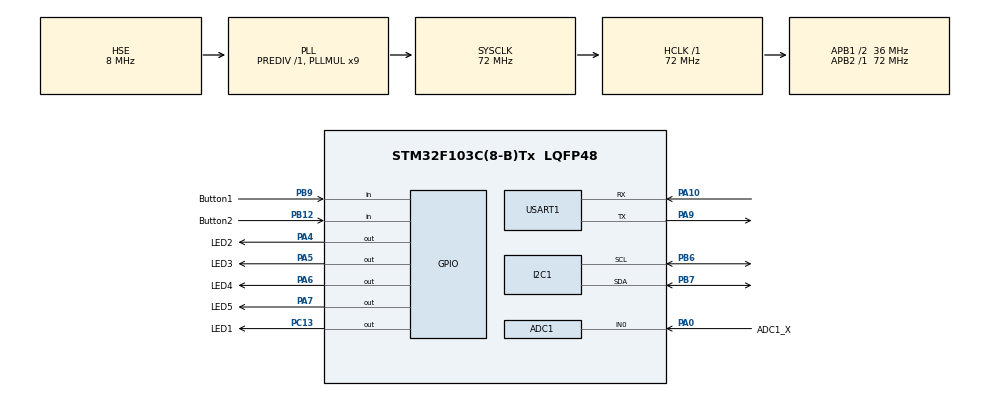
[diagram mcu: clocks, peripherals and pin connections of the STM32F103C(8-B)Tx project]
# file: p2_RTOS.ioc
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ADC1.Channel-0\#ChannelRegularConversion=ADC_CHANNEL_0
ADC1.NbrOfConversionFlag=1
ADC1.Rank-0\#ChannelRegularConversion=1
ADC1.SamplingTime-0\#ChannelRegularConversion=ADC_SAMPLETIME_1CYCLE_5
ADC1.master=1
FREERTOS.Tasks01=defaultTask,24,128,StartDefaultTask,Default,NULL,Dynamic,NULL,NULL;pickButtonTask,24,128,pickButton,Default,NULL,Dynamic,NULL,NULL;getADCTask,32,128,getADC,Default,NULL,Dynamic,NULL,NULL;dispOLEDTask,24,128,dispOLED,Default,NULL,Dynamic,NULL,NULL;dispUARTTask,24,128,dispUART,Default,NULL,Dynamic,NULL,NULL
FREERTOS.configTOTAL_HEAP_SIZE=3600
FREERTOS.configUSE_NEWLIB_REENTRANT=1
I2C1.I2C_Mode=I2C_Fast
Mcu.Family=STM32F1
Mcu.Name=STM32F103C(8-B)Tx
Mcu.Package=LQFP48
NVIC.PriorityGroup=NVIC_PRIORITYGROUP_4
NVIC.TIM4_IRQn=true\:15\:0\:false\:false\:true\:false\:false\:true\:true
NVIC.TimeBase=TIM4_IRQn
NVIC.TimeBaseIP=TIM4
PA0-WKUP.GPIO_Label=ADC1_X
PA0-WKUP.Signal=ADCx_IN0
PA10.Mode=Asynchronous
PA10.Signal=USART1_RX
PA4.GPIO_Label=LED2
PA4.Signal=GPIO_Output
PA5.GPIO_Label=LED3
PA5.Signal=GPIO_Output
PA6.GPIO_Label=LED4
PA6.Signal=GPIO_Output
PA7.GPIO_Label=LED5
PA7.Signal=GPIO_Output
PA9.Mode=Asynchronous
PA9.Signal=USART1_TX
PB12.GPIO_Label=Button2
PB12.Signal=GPIO_Input
PB6.Mode=I2C
PB6.Signal=I2C1_SCL
PB7.Mode=I2C
PB7.Signal=I2C1_SDA
PB9.GPIO_Label=Button1
PB9.GPIO_PuPd=GPIO_PULLUP
PB9.Signal=GPIO_Input
PC13-TAMPER-RTC.GPIO_Label=LED1
PC13-TAMPER-RTC.Signal=GPIO_Output
PD0-OSC_IN.Mode=HSE-External-Oscillator
PD0-OSC_IN.Signal=RCC_OSC_IN
PD1-OSC_OUT.Mode=HSE-External-Oscillator
PD1-OSC_OUT.Signal=RCC_OSC_OUT
ProjectManager.HeapSize=0x200
ProjectManager.StackSize=0x400
ProjectManager.TargetToolchain=STM32CubeIDE
RCC.ADCPresc=RCC_ADCPCLK2_DIV6
RCC.AHBFreq_Value=72000000
RCC.APB1CLKDivider=RCC_HCLK_DIV2
RCC.APB1Freq_Value=36000000
RCC.APB1TimFreq_Value=72000000
RCC.APB2Freq_Value=72000000
RCC.APB2TimFreq_Value=72000000
RCC.HCLKFreq_Value=72000000
RCC.PLLMUL=RCC_PLL_MUL9
RCC.PLLSourceVirtual=RCC_PLLSOURCE_HSE
RCC.SYSCLKFreq_VALUE=72000000
RCC.SYSCLKSource=RCC_SYSCLKSOURCE_PLLCLK
RCC.USBFreq_Value=72000000
SH.ADCx_IN0.0=ADC1_IN0,IN0
USART1.VirtualMode=VM_ASYNC
VP_FREERTOS_VS_CMSIS_V2.Mode=CMSIS_V2
VP_SYS_VS_ND.Mode=No_Debug
VP_SYS_VS_tim4.Mode=TIM4
board=custom

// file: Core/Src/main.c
/* USER CODE BEGIN Header */
/**
  ******************************************************************************
 * main.c
 * author:  Jonathan Burkley Rodriguez <superryuboy@yahoo.com>
	for Phipp's Electronics

	SSD1306 code:
 * original author:  Tilen Majerle<tilen@majerle.eu>
 * modification for STM32f10x: Alexander Lutsai<s.lyra@ya.ru>

   ----------------------------------------------------------------------
   	Copyright (C) Alexander Lutsai, 2016
    Copyright (C) Tilen Majerle, 2015

   ----------------------------------------------------------------------

    This program is free software: you can redistribute it and/or modify
    it under the terms of the GNU General Public License as published by
    the Free Software Foundation, either version 3 of the License, or
    any later version.

    This program is distributed in the hope that it will be useful,
    but WITHOUT ANY WARRANTY; without even the implied warranty of
    MERCHANTABILITY or FITNESS FOR A PARTICULAR PURPOSE.  See the
    GNU General Public License for more details.

    You should have received a copy of the GNU General Public License
    along with this program.  If not, see <http://www.gnu.org/licenses/>.
  ******************************************************************************
  */
/* USER CODE END Header */
#include "main.h"
#include "cmsis_os.h"

/* USER CODE BEGIN Includes */
#include <stdio.h>
#include "fonts.h"
#include "ssd1306.h"
//#include "test.h"
#include "bitmap.h"
//#include "horse_anim.h"
/* USER CODE END Includes */

ADC_HandleTypeDef hadc1;
I2C_HandleTypeDef hi2c1;
UART_HandleTypeDef huart1;

/* Definitions for defaultTask */
osThreadId_t defaultTaskHandle;
const osThreadAttr_t defaultTask_attributes = {
  .name = "defaultTask",
  .stack_size = 128 * 4,
  .priority = (osPriority_t) osPriorityNormal,
};
/* Definitions for pickButtonTask */
osThreadId_t pickButtonTaskHandle;
const osThreadAttr_t pickButtonTask_attributes = {
  .name = "pickButtonTask",
  .stack_size = 128 * 4,
  .priority = (osPriority_t) osPriorityNormal,
};
/* Definitions for getADCTask */
osThreadId_t getADCTaskHandle;
const osThreadAttr_t getADCTask_attributes = {
  .name = "getADCTask",
  .stack_size = 128 * 4,
  .priority = (osPriority_t) osPriorityAboveNormal,
};
/* Definitions for dispOLEDTask */
osThreadId_t dispOLEDTaskHandle;
const osThreadAttr_t dispOLEDTask_attributes = {
  .name = "dispOLEDTask",
  .stack_size = 128 * 4,
  .priority = (osPriority_t) osPriorityNormal,
};
/* Definitions for dispUARTTask */
osThreadId_t dispUARTTaskHandle;
const osThreadAttr_t dispUARTTask_attributes = {
  .name = "dispUARTTask",
  .stack_size = 128 * 4,
  .priority = (osPriority_t) osPriorityNormal,
};
/* USER CODE BEGIN PV */
uint32_t x_val;
uint8_t choice;
char buffer[50];
uint8_t state;

volatile int button1_pressed = 0;
volatile int button2_pressed = 0;

/* USER CODE END PV */

void SystemClock_Config(void);
static void MX_GPIO_Init(void);
static void MX_ADC1_Init(void);
static void MX_I2C1_Init(void);
static void MX_USART1_UART_Init(void);
void StartDefaultTask(void *argument);
void pickButton(void *argument);
void getADC(void *argument);
void dispOLED(void *argument);
void dispUART(void *argument);

/* USER CODE BEGIN PFP */
void Menu_Display(void);
/* USER CODE END PFP */

/* USER CODE BEGIN 0 */
void Light_LED(){
	if(x_val < 4096/5){
			HAL_GPIO_WritePin(LED1_GPIO_Port, LED1_Pin, 1);
			HAL_GPIO_WritePin(LED2_GPIO_Port, LED2_Pin, 0);
			HAL_GPIO_WritePin(LED3_GPIO_Port, LED3_Pin, 0);
			HAL_GPIO_WritePin(LED4_GPIO_Port, LED4_Pin, 0);
			HAL_GPIO_WritePin(LED5_GPIO_Port, LED5_Pin, 0);
		} else if(x_val < 4096*2/5){
			HAL_GPIO_WritePin(LED1_GPIO_Port, LED1_Pin, 1);
			HAL_GPIO_WritePin(LED2_GPIO_Port, LED2_Pin, 1);
			HAL_GPIO_WritePin(LED3_GPIO_Port, LED3_Pin, 0);
			HAL_GPIO_WritePin(LED4_GPIO_Port, LED4_Pin, 0);
			HAL_GPIO_WritePin(LED5_GPIO_Port, LED5_Pin, 0);
		} else if(x_val < 4096*3/5){
			HAL_GPIO_WritePin(LED1_GPIO_Port, LED1_Pin, 1);
			HAL_GPIO_WritePin(LED2_GPIO_Port, LED2_Pin, 1);
			HAL_GPIO_WritePin(LED3_GPIO_Port, LED3_Pin, 1);
			HAL_GPIO_WritePin(LED4_GPIO_Port, LED4_Pin, 0);
			HAL_GPIO_WritePin(LED5_GPIO_Port, LED5_Pin, 0);
		} else if(x_val < 4096*4/5){
			HAL_GPIO_WritePin(LED1_GPIO_Port, LED1_Pin, 1);
			HAL_GPIO_WritePin(LED2_GPIO_Port, LED2_Pin, 1);
			HAL_GPIO_WritePin(LED3_GPIO_Port, LED3_Pin, 1);
			HAL_GPIO_WritePin(LED4_GPIO_Port, LED4_Pin, 1);
			HAL_GPIO_WritePin(LED5_GPIO_Port, LED5_Pin, 0);
		} else{
			HAL_GPIO_WritePin(LED1_GPIO_Port, LED1_Pin, 1);
			HAL_GPIO_WritePin(LED2_GPIO_Port, LED2_Pin, 1);
			HAL_GPIO_WritePin(LED3_GPIO_Port, LED3_Pin, 1);
			HAL_GPIO_WritePin(LED4_GPIO_Port, LED4_Pin, 1);
			HAL_GPIO_WritePin(LED5_GPIO_Port, LED5_Pin, 1);
		}
}

void Tf_LED(){
	HAL_GPIO_WritePin(LED1_GPIO_Port, LED1_Pin, 0);
	HAL_GPIO_WritePin(LED2_GPIO_Port, LED2_Pin, 0);
	HAL_GPIO_WritePin(LED3_GPIO_Port, LED3_Pin, 0);
	HAL_GPIO_WritePin(LED4_GPIO_Port, LED4_Pin, 0);
	HAL_GPIO_WritePin(LED5_GPIO_Port, LED5_Pin, 0);
}
/* USER CODE END 0 */

int main(void)
{

  /* MCU Configuration--------------------------------------------------------*/

  /* Reset of all peripherals, Initializes the Flash interface and the Systick. */
  HAL_Init();

  /* USER CODE BEGIN Init */

	  // initialise
  /* USER CODE END Init */

  /* Configure the system clock */
  SystemClock_Config();

  /* Initialize all configured peripherals */
  MX_GPIO_Init();
  MX_ADC1_Init();
  MX_I2C1_Init();
  MX_USART1_UART_Init();
  /* USER CODE BEGIN 2 */

  SSD1306_Init();
  SSD1306_Clear();
  SSD1306_UpdateScreen();

  SSD1306_GotoXY (0,0);
  SSD1306_Puts ("HELLO", &Font_11x18, 1);
  SSD1306_GotoXY (10, 30);
  SSD1306_Puts ("  WORLD :)", &Font_11x18, 1);
  SSD1306_UpdateScreen(); //display

  HAL_Delay(2000);

  /* USER CODE END 2 */

  /* Init scheduler */
  osKernelInitialize();

  /* Create the thread(s) */
  /* creation of defaultTask */
  defaultTaskHandle = osThreadNew(StartDefaultTask, NULL, &defaultTask_attributes);

  /* creation of pickButtonTask */
  pickButtonTaskHandle = osThreadNew(pickButton, NULL, &pickButtonTask_attributes);

  /* creation of getADCTask */
  getADCTaskHandle = osThreadNew(getADC, NULL, &getADCTask_attributes);

  /* creation of dispOLEDTask */
  dispOLEDTaskHandle = osThreadNew(dispOLED, NULL, &dispOLEDTask_attributes);

  /* creation of dispUARTTask */
  dispUARTTaskHandle = osThreadNew(dispUART, NULL, &dispUARTTask_attributes);

  /* Start scheduler */
  osKernelStart();

  /* We should never get here as control is now taken by the scheduler */

  /* Infinite loop */
  while (1)
  {

  }
}

void SystemClock_Config(void)
{
  RCC_OscInitTypeDef RCC_OscInitStruct = {0};
  RCC_ClkInitTypeDef RCC_ClkInitStruct = {0};
  RCC_PeriphCLKInitTypeDef PeriphClkInit = {0};

  /** Initializes the RCC Oscillators according to the specified parameters
  * in the RCC_OscInitTypeDef structure.
  */
  RCC_OscInitStruct.OscillatorType = RCC_OSCILLATORTYPE_HSE;
  RCC_OscInitStruct.HSEState = RCC_HSE_ON;
  RCC_OscInitStruct.HSEPredivValue = RCC_HSE_PREDIV_DIV1;
  RCC_OscInitStruct.HSIState = RCC_HSI_ON;
  RCC_OscInitStruct.PLL.PLLState = RCC_PLL_ON;
  RCC_OscInitStruct.PLL.PLLSource = RCC_PLLSOURCE_HSE;
  RCC_OscInitStruct.PLL.PLLMUL = RCC_PLL_MUL9;
  if (HAL_RCC_OscConfig(&RCC_OscInitStruct) != HAL_OK)
  {
    Error_Handler();
  }

  /** Initializes the CPU, AHB and APB buses clocks
  */
  RCC_ClkInitStruct.ClockType = RCC_CLOCKTYPE_HCLK|RCC_CLOCKTYPE_SYSCLK
                              |RCC_CLOCKTYPE_PCLK1|RCC_CLOCKTYPE_PCLK2;
  RCC_ClkInitStruct.SYSCLKSource = RCC_SYSCLKSOURCE_PLLCLK;
  RCC_ClkInitStruct.AHBCLKDivider = RCC_SYSCLK_DIV1;
  RCC_ClkInitStruct.APB1CLKDivider = RCC_HCLK_DIV2;
  RCC_ClkInitStruct.APB2CLKDivider = RCC_HCLK_DIV1;

  if (HAL_RCC_ClockConfig(&RCC_ClkInitStruct, FLASH_LATENCY_2) != HAL_OK)
  {
    Error_Handler();
  }
  PeriphClkInit.PeriphClockSelection = RCC_PERIPHCLK_ADC;
  PeriphClkInit.AdcClockSelection = RCC_ADCPCLK2_DIV6;
  if (HAL_RCCEx_PeriphCLKConfig(&PeriphClkInit) != HAL_OK)
  {
    Error_Handler();
  }
}

static void MX_ADC1_Init(void)
{

  ADC_ChannelConfTypeDef sConfig = {0};

  /** Common config
  */
  hadc1.Instance = ADC1;
  hadc1.Init.ScanConvMode = ADC_SCAN_DISABLE;
  hadc1.Init.ContinuousConvMode = DISABLE;
  hadc1.Init.DiscontinuousConvMode = DISABLE;
  hadc1.Init.ExternalTrigConv = ADC_SOFTWARE_START;
  hadc1.Init.DataAlign = ADC_DATAALIGN_RIGHT;
  hadc1.Init.NbrOfConversion = 1;
  if (HAL_ADC_Init(&hadc1) != HAL_OK)
  {
    Error_Handler();
  }

  /** Configure Regular Channel
  */
  sConfig.Channel = ADC_CHANNEL_0;
  sConfig.Rank = ADC_REGULAR_RANK_1;
  sConfig.SamplingTime = ADC_SAMPLETIME_1CYCLE_5;
  if (HAL_ADC_ConfigChannel(&hadc1, &sConfig) != HAL_OK)
  {
    Error_Handler();
  }

}

static void MX_I2C1_Init(void)
{

  hi2c1.Instance = I2C1;
  hi2c1.Init.ClockSpeed = 400000;
  hi2c1.Init.DutyCycle = I2C_DUTYCYCLE_2;
  hi2c1.Init.OwnAddress1 = 0;
  hi2c1.Init.AddressingMode = I2C_ADDRESSINGMODE_7BIT;
  hi2c1.Init.DualAddressMode = I2C_DUALADDRESS_DISABLE;
  hi2c1.Init.OwnAddress2 = 0;
  hi2c1.Init.GeneralCallMode = I2C_GENERALCALL_DISABLE;
  hi2c1.Init.NoStretchMode = I2C_NOSTRETCH_DISABLE;
  if (HAL_I2C_Init(&hi2c1) != HAL_OK)
  {
    Error_Handler();
  }

}

static void MX_USART1_UART_Init(void)
{

  huart1.Instance = USART1;
  huart1.Init.BaudRate = 115200;
  huart1.Init.WordLength = UART_WORDLENGTH_8B;
  huart1.Init.StopBits = UART_STOPBITS_1;
  huart1.Init.Parity = UART_PARITY_NONE;
  huart1.Init.Mode = UART_MODE_TX_RX;
  huart1.Init.HwFlowCtl = UART_HWCONTROL_NONE;
  huart1.Init.OverSampling = UART_OVERSAMPLING_16;
  if (HAL_UART_Init(&huart1) != HAL_OK)
  {
    Error_Handler();
  }

}

static void MX_GPIO_Init(void)
{
  GPIO_InitTypeDef GPIO_InitStruct = {0};

  /* GPIO Ports Clock Enable */
  __HAL_RCC_GPIOC_CLK_ENABLE();
  __HAL_RCC_GPIOD_CLK_ENABLE();
  __HAL_RCC_GPIOA_CLK_ENABLE();
  __HAL_RCC_GPIOB_CLK_ENABLE();

  /*Configure GPIO pin Output Level */
  HAL_GPIO_WritePin(LED1_GPIO_Port, LED1_Pin, GPIO_PIN_RESET);

  /*Configure GPIO pin Output Level */
  HAL_GPIO_WritePin(GPIOA, LED2_Pin|LED3_Pin|LED4_Pin|LED5_Pin, GPIO_PIN_RESET);

  /*Configure GPIO pin : LED1_Pin */
  GPIO_InitStruct.Pin = LED1_Pin;
  GPIO_InitStruct.Mode = GPIO_MODE_OUTPUT_PP;
  GPIO_InitStruct.Pull = GPIO_NOPULL;
  GPIO_InitStruct.Speed = GPIO_SPEED_FREQ_LOW;
  HAL_GPIO_Init(LED1_GPIO_Port, &GPIO_InitStruct);

  /*Configure GPIO pins : LED2_Pin LED3_Pin LED4_Pin LED5_Pin */
  GPIO_InitStruct.Pin = LED2_Pin|LED3_Pin|LED4_Pin|LED5_Pin;
  GPIO_InitStruct.Mode = GPIO_MODE_OUTPUT_PP;
  GPIO_InitStruct.Pull = GPIO_NOPULL;
  GPIO_InitStruct.Speed = GPIO_SPEED_FREQ_LOW;
  HAL_GPIO_Init(GPIOA, &GPIO_InitStruct);

  /*Configure GPIO pin : Button2_Pin */
  GPIO_InitStruct.Pin = Button2_Pin;
  GPIO_InitStruct.Mode = GPIO_MODE_INPUT;
  GPIO_InitStruct.Pull = GPIO_NOPULL;
  HAL_GPIO_Init(Button2_GPIO_Port, &GPIO_InitStruct);

  /*Configure GPIO pin : Button1_Pin */
  GPIO_InitStruct.Pin = Button1_Pin;
  GPIO_InitStruct.Mode = GPIO_MODE_INPUT;
  GPIO_InitStruct.Pull = GPIO_PULLUP;
  HAL_GPIO_Init(Button1_GPIO_Port, &GPIO_InitStruct);

}

/* USER CODE BEGIN 4 */

void Menu_Display(void)
{
	uint8_t menu_1[] = "\r\n1. Voltage monitor read\r\n";
	uint8_t menu_2[] = "2. Re-display Menu\r\n\r\n";

	HAL_UART_Transmit(&huart1, menu_1, sizeof(menu_1), 10);
	HAL_UART_Transmit(&huart1, menu_2, sizeof(menu_2), 10);

}

/* USER CODE END 4 */

void StartDefaultTask(void *argument)
{
  for(;;)
  {
    osDelay(1);
  }
}

void pickButton(void *argument)
{
  /* USER CODE BEGIN pickButton */
  /* Infinite loop */
  for(;;)
  {

	  if(HAL_GPIO_ReadPin(Button1_GPIO_Port, Button1_Pin) == GPIO_PIN_RESET)
	  {
		  osDelay(300);	// debounce
		  button1_pressed = 1;
		  state++;
	  }else button1_pressed = 0;

    osDelay(100);
  }
  /* USER CODE END pickButton */
}

void getADC(void *argument)
{
  /* USER CODE BEGIN getADC */
  /* Infinite loop */
  for(;;)
  {

	  HAL_ADC_Start(&hadc1);
	  HAL_ADC_PollForConversion(&hadc1, 10);
	  x_val = (HAL_ADC_GetValue(&hadc1));
	  HAL_ADC_Stop(&hadc1);

	  // process ADC values here

    osDelay(10);
  }
  /* USER CODE END getADC */
}

void dispOLED(void *argument)
{
  /* USER CODE BEGIN dispOLED */

  /* Infinite loop */
  for(;;)
  {

	  if((state % 3) == 1){
	            Light_LED();
	            osDelay(300);
	            Tf_LED();
	            osDelay(300);
	        }
	        else if((state % 3) == 2){
	            Light_LED();
	        }
	        else if((state % 3) == 0){
	            // You might want to add some action here if necessary
	        	Tf_LED();
	        }
	  osDelay(100);
  }
  /* USER CODE END dispOLED */
}

void dispUART(void *argument)
{
  /* USER CODE BEGIN dispUART */
  /* Infinite loop */
	Menu_Display();
		char buffer2[20] = "_";

		  for(;;)
		  {
			  // select user input
			  if (HAL_UART_Receive(&huart1, &choice, sizeof(choice), 10) == HAL_OK)
			  {
				switch (choice) {

					case '1':
						//HAL_UART_Transmit(&huart1, (uint8_t*)"2 pressed\r\n", sizeof("1 pressed\r\n"), 10);
						sprintf(buffer2, "Voltage = %d\r\n",x_val);
						HAL_UART_Transmit(&huart1, buffer2, sizeof(buffer2), 20);
						break;
					case '2':
						Menu_Display();
						break;
					default:
						break;
				}
			  }else{

			  }

			  if(button1_pressed)
			  {
				  HAL_UART_Transmit(&huart1, (uint8_t*)"Button1 pressed\r\n", sizeof("Button1 pressed\r\n"), 10);
	//			  button1_pressed = 0;
			  }

		//		  if(button2_pressed)
		//		  {
		//			  HAL_UART_Transmit(&huart1, (uint8_t*)"Button2 pressed\r\n", sizeof("Button2 pressed\r\n"), 10);
		//			  button2_pressed = 0;
		//		  }
		  }

			osDelay(100);
  /* USER CODE END dispUART */
}

void HAL_TIM_PeriodElapsedCallback(TIM_HandleTypeDef *htim)
{
  if (htim->Instance == TIM4) {
    HAL_IncTick();
  }
}

void Error_Handler(void)
{
  __disable_irq();
  while (1)
  {
  }
}
